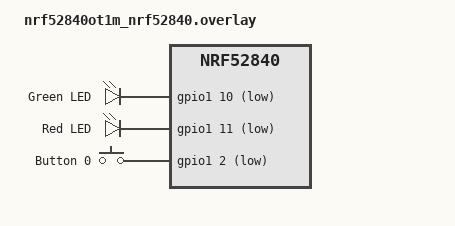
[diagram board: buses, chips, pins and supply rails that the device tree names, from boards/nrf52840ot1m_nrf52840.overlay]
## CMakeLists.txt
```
# SPDX-License-Identifier: Apache-2.0

cmake_minimum_required(VERSION 3.13.1)

set(BOARD ot1m_display_nrf52840)

find_package(Zephyr HINTS $ENV{ZEPHYR_BASE})

include_directories(${CMAKE_SOURCE_DIR}/build/zephyr/include/generated)

file(STRINGS
        ${CMAKE_SOURCE_DIR}/build/zephyr/include/generated/autoconf.h
        LIST_OF_CONFIGS
        REGEX "^#define CONFIG_"
        ENCODING "UTF-8"
        )
foreach (CONFIG ${LIST_OF_CONFIGS})
    string(REPLACE " " ";" CONFIG_ITEM_LIST ${CONFIG})
    list(GET CONFIG_ITEM_LIST 1 CONFIG_ITEM_NAME)
    list(GET CONFIG_ITEM_LIST 2 CONFIG_ITEM_VALUE)
#    message(${CONFIG_ITEM_NAME})
#    message(${CONFIG_ITEM_VALUE})
    add_definitions('-D${CONFIG_ITEM_NAME}=${CONFIG_ITEM_VALUE}')
    set(${CONFIG_ITEM_NAME} ${CONFIG_ITEM_VALUE})
endforeach()

include_directories(${ZEPHYR_BASE}/subsys/net/ip ../modules/lib/openthread/include)


project(lwm2m_client)
target_sources(app PRIVATE src/main.c src/epdpaint.c src/font8.c)

target_include_directories(app PRIVATE ${CMAKE_SOURCE_DIR}/src)
```

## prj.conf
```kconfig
# 通用配置
CONFIG_GPIO=y
CONFIG_NRFX_GPIOTE=n
CONFIG_CONSOLE=n
CONFIG_SHELL_BACKENDS=n
CONFIG_UART_CONSOLE=n
CONFIG_SERIAL=n

CONFIG_I2C=n
CONFIG_I2C_LOG_LEVEL_DBG=n
CONFIG_LWM2M_LOG_LEVEL_DBG=y
CONFIG_DISPLAY_LOG_LEVEL_DBG=y

CONFIG_APP_BUTTON=n
CONFIG_APP_LWM2M=y
CONFIG_APP_OPENTHREAD=y
CONFIG_APP_SETTINGS=y
# CONFIG_APP_SHT30D=y

CONFIG_LOG=y
CONFIG_BOOTLOADER_MCUBOOT=n
CONFIG_SYS_POWER_MANAGEMENT=y
CONFIG_DEVICE_POWER_MANAGEMENT=y

CONFIG_POLL=y
# CONFIG_REBOOT=y
CONFIG_LOG_BACKEND_UART=n
CONFIG_LOG_BACKEND_RTT=y
CONFIG_LOG_DEFAULT_LEVEL=3
CONFIG_SENSOR_LOG_LEVEL_DBG=y
CONFIG_RING_BUFFER=y

CONFIG_SETTINGS=y
CONFIG_NVS=y
CONFIG_SETTINGS_NVS=y
CONFIG_SYS_POWER_MANAGEMENT=y
CONFIG_DEVICE_POWER_MANAGEMENT=y

# Kernel options
CONFIG_MAIN_STACK_SIZE=2048
CONFIG_ENTROPY_GENERATOR=y
CONFIG_TEST_RANDOM_GENERATOR=y
CONFIG_INIT_STACKS=y

CONFIG_NEWLIB_LIBC=y
CONFIG_NEWLIB_LIBC_FLOAT_PRINTF=y

# Generic networking options
CONFIG_NETWORKING=y
CONFIG_NET_UDP=y
CONFIG_NET_TCP=n
CONFIG_NET_IPV6=y
CONFIG_NET_IPV4=n
CONFIG_NET_SOCKETS=y
CONFIG_NET_SOCKETS_POSIX_NAMES=y
CONFIG_NET_SOCKETS_POLL_MAX=4
CONFIG_NET_CONNECTION_MANAGER=y

# Kernel options
CONFIG_MAIN_STACK_SIZE=2048
CONFIG_ENTROPY_GENERATOR=y
CONFIG_TEST_RANDOM_GENERATOR=y
CONFIG_INIT_STACKS=y
CONFIG_HEAP_MEM_POOL_SIZE=65536

# Logging
CONFIG_NET_LOG=y
CONFIG_LOG_STRDUP_BUF_COUNT=10
CONFIG_NET_STATISTICS=y
CONFIG_PRINTK=y

# Network buffers
CONFIG_NET_PKT_RX_COUNT=16
CONFIG_NET_PKT_TX_COUNT=16
CONFIG_NET_BUF_RX_COUNT=80
CONFIG_NET_BUF_TX_COUNT=80
CONFIG_NET_CONTEXT_NET_PKT_POOL=y

# IP address options
CONFIG_NET_IF_UNICAST_IPV6_ADDR_COUNT=3
CONFIG_NET_IF_MCAST_IPV6_ADDR_COUNT=4
CONFIG_NET_MAX_CONTEXTS=10

# Network shell
CONFIG_NET_SHELL=n

# The addresses are selected so that qemu<->qemu connectivity works ok.
# For linux<->qemu connectivity, create a new conf file and swap the
# addresses (so that peer address is ending to 2).
CONFIG_NET_CONFIG_SETTINGS=y
CONFIG_NET_CONFIG_NEED_IPV6=y

CONFIG_NEWLIB_LIBC=y

CONFIG_NET_IPV6_NBR_CACHE=n
CONFIG_NET_IPV6_MLD=n
CONFIG_NET_CONFIG_NEED_IPV4=n

CONFIG_SYSTEM_WORKQUEUE_STACK_SIZE=2048
CONFIG_SHELL_STACK_SIZE=3072

CONFIG_NET_L2_OPENTHREAD=y

CONFIG_OPENTHREAD_DEBUG=y
CONFIG_OPENTHREAD_L2_DEBUG=y
CONFIG_OPENTHREAD_L2_LOG_LEVEL_INF=y
# CONFIG_OPENTHREAD_L2_LOG_LEVEL_DBG=y
CONFIG_OPENTHREAD_CHANNEL=26

# mbedTLS tweaks
CONFIG_MBEDTLS_SSL_MAX_CONTENT_LEN=768

# A sample configuration to enable Thread Joiner, uncomment if needed
CONFIG_OPENTHREAD_JOINER=y
#CONFIG_OPENTHREAD_JOINER_AUTOSTART=y

# Enable diagnostic module, uncomment if needed
#CONFIG_OPENTHREAD_DIAG=yAPP_MAX_COAP_MSG_LEN

CONFIG_OPENTHREAD_MANUAL_START=y
CONFIG_OPENTHREAD_SHELL=n
CONFIG_OPENTHREAD_SLAAC=y
CONFIG_OPENTHREAD_MTD=y

CONFIG_APP_OPENTHREAD_SLEEPY_POLL_PERIOD=100
CONFIG_APP_OPENTHREAD_JOINER_PSKD="J01NME"

CONFIG_LWM2M=y
CONFIG_LWM2M_COAP_BLOCK_SIZE=512
CONFIG_LWM2M_IPSO_SUPPORT=y
CONFIG_LWM2M_IPSO_TIMESTAMP_EXTENSIONS=y
CONFIG_LWM2M_IPSO_TEMP_SENSOR=y
CONFIG_LWM2M_IPSO_HUMIDITY_SENSOR=y
CONFIG_LWM2M_IPSO_PRESSURE_SENSOR=y
CONFIG_LWM2M_IPSO_LIGHT_CONTROL=y
CONFIG_LWM2M_IPSO_GENERIC_SENSOR=y
CONFIG_LWM2M_IPSO_GENERIC_SENSOR_TYPE="Generic_Sensor"
CONFIG_LWM2M_IPSO_GENERIC_SENSOR_INSTANCE_COUNT=4
CONFIG_LWM2M_IPSO_TIMER=y
CONFIG_LWM2M_IPSO_ONOFF_SWITCH=y
CONFIG_LWM2M_IPSO_PUSH_BUTTON=y
CONFIG_LWM2M_IPSO_ACCELEROMETER=n
CONFIG_LWM2M_IPSO_BUZZER=n
# 超时时间
CONFIG_LWM2M_ENGINE_DEFAULT_LIFETIME=50
# 超时前提前多少update，防止网络慢的原因导致超时
CONFIG_LWM2M_SECONDS_TO_UPDATE_EARLY=20

############# DTLS
CONFIG_LWM2M_DTLS_SUPPORT=y
CONFIG_LWM2M_PEER_PORT=5684

# Select Zephyr mbedtls
CONFIG_MBEDTLS=y

# Special MbedTLS changes
CONFIG_MBEDTLS_ENABLE_HEAP=y
# 需要足够大才能同时运行openthread join与lwm2m
CONFIG_MBEDTLS_HEAP_SIZE=65536
CONFIG_MBEDTLS_SSL_MAX_CONTENT_LEN=1500
CONFIG_MBEDTLS_CIPHER_CCM_ENABLED=y

# Disable RSA, we don't parse certs: saves flash/memory
# 如果开启了需要调整配置
CONFIG_MBEDTLS_KEY_EXCHANGE_RSA_ENABLED=n
# Enable PSK instead
CONFIG_MBEDTLS_KEY_EXCHANGE_PSK_ENABLED=y

CONFIG_NET_SOCKETS_SOCKOPT_TLS=y
CONFIG_NET_SOCKETS_TLS_MAX_CONTEXTS=4
CONFIG_NET_SOCKETS_ENABLE_DTLS=y



CONFIG_SPI=y
CONFIG_SPI_ASYNC=y

CONFIG_DISPLAY=y
CONFIG_WAVESHARE_4IN2=y

CONFIG_CHARACTER_FRAMEBUFFER=y


CONFIG_I2C=y
CONFIG_SENSOR=y
CONFIG_SHT3XD=y
CONFIG_CBPRINTF_FP_SUPPORT=y

CONFIG_LIS2DH=y

CONFIG_FLASH=y
CONFIG_NORDIC_QSPI_NOR=y
CONFIG_FLASH_LOG_LEVEL_DBG=y
```

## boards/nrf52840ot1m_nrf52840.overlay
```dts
/ {
    leds {
		compatible = "gpio-leds";
		led0: led_0 {
			gpios = <&gpio1 10 GPIO_ACTIVE_LOW>;
			label = "Green LED";
		};
		led1: led_1 {
            gpios = <&gpio1 11 GPIO_ACTIVE_LOW>;
            label = "Red LED";
        };
	};
	buttons {
        compatible = "gpio-keys";
        button0: button_0 {
            gpios = <&gpio1 2 (GPIO_PULL_UP | GPIO_ACTIVE_LOW)>;
            label = "Button 0";
        };
    };
    aliases {
        btnapp = &button0;
    };
};

&uart0 {
    status = "disabled";
};


&gpio0 {
	status = "okay";
};

&gpio1 {
	status = "okay";
};
```

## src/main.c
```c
/*
 * main 线程，进行公共的初始化操作，然后启动其他线程
 */

#include <zephyr.h>
#include <logging/log.h>
LOG_MODULE_REGISTER(main, LOG_LEVEL_INF);
#include <device.h>
#include <drivers/sensor.h>
#include <stdio.h>
#include <devicetree.h>
#include <drivers/gpio.h>
#include <power/power.h>
#include <math.h>
#include <app_openthread.h>
#include <app_lwm2m.h>
#include <net/lwm2m.h>
//#include <sht30d.h>
//#include <nrfx_gpiote.h>
//#include <button.h>

#include <net/openthread.h>
#include <openthread/link.h>
#include <openthread/thread.h>
#include <drivers/flash.h>
#include <drivers/display.h>
#include "epdpaint.h"

#define LIGHT_NAME		"Test light"

static uint32_t led_state=0;
static bool btn_state=false;
#define LED0	DT_GPIO_PIN(DT_NODELABEL(led0), gpios)
//
//static void *temperature_get_buf(uint16_t obj_inst_id, uint16_t res_id,
//                                 uint16_t res_inst_id, size_t *data_len)
//{
//    static struct float32_value temp, hum;
//
//    if(0 != app_sht30d_fetch_sensor((struct sensor_value *)&temp, (struct sensor_value *)&hum)){
//        LOG_ERR("fetch sensor error");
//    }
//    /* echo the value back through the engine to update min/max values */
//    lwm2m_engine_set_float32("3303/0/5700", &temp);
//    *data_len = sizeof(temp);
//    return &temp;
//}

void on_btn_single_click(void) {
    LOG_INF("CLICK");
    btn_state = !btn_state;
    lwm2m_engine_set_bool("3342/0/5500", btn_state);
}

void on_btn_long_press(void) {
    app_ot_start_join();
}
//
//static void led_init(void) {
//    int ret;
//    nrfx_gpiote_out_config_t const out_config = {
//            .action = NRF_GPIOTE_POLARITY_TOGGLE,
//            .init_state = 1,
//            .task_pin = true,
//    };
//
//    /* Initialize output pin. SET task will turn the LED on,
//     * CLR will turn it off and OUT will toggle it.
//     */
//    ret = nrfx_gpiote_out_init(LED0+32, &out_config);
//    if (ret != NRFX_SUCCESS) {
//        LOG_ERR("nrfx_gpiote_out_init error: %08x", ret);
//        return;
//    }
////    nrfx_gpiote_out_task_enable(LED0);
//}
//
///* TODO: Move to a pre write hook that can handle ret codes once available */
//static int led_on_off_cb(uint16_t obj_inst_id, uint16_t res_id, uint16_t res_inst_id,
//                         uint8_t *data, uint16_t data_len,
//                         bool last_block, size_t total_size)
//{
//    int ret = 0;
//    uint32_t led_val;
//
//    led_val = *(uint8_t *) data;
//    if (led_val != led_state) {
//        nrfx_gpiote_out_toggle(LED0+32);
//        led_state = led_val;
//        /* TODO: Move to be set by an internal post write function */
//        lwm2m_engine_set_s32("3311/0/5852", 0);
//    }
//
//    return ret;
//}

#define FLASH_DEVICE DT_LABEL(DT_INST(0, nordic_qspi_nor))
#define FLASH_NAME "JEDEC QSPI-NOR"
#define FLASH_TEST_REGION_OFFSET 0xff000
#define FLASH_SECTOR_SIZE        4096
Paint paint;
#define COLORED      1
#define UNCOLORED    0


void main(void) {
    LOG_INF("OT1M Starting...");
    int ret;
//    const struct device *flash_dev;
//    flash_dev = device_get_binding(FLASH_DEVICE);
//
//    if (!flash_dev) {
//        LOG_WRN("SPI flash driver %s was not found!\n",
//               FLASH_DEVICE);
//        return;
//    }
//    LOG_INF("\nTest 1: Flash erase\n");
//    flash_write_protection_set(flash_dev, false);
//
//    ret = flash_erase(flash_dev, FLASH_TEST_REGION_OFFSET,
//                     FLASH_SECTOR_SIZE);
//    if (ret != 0) {
//        LOG_WRN("Flash erase failed! %d\n", ret);
//    } else {
//        LOG_INF("Flash erase succeeded!\n");
//    }

    const struct device *display_dev = device_get_binding("WaveShare_4IN2");

    if (display_dev == NULL) {
        LOG_ERR("device not found.  Aborting test.");
        return;
    }
    ret = display_blanking_on(display_dev);
    if ( ret != 0) {
        LOG_ERR("blanking error %d.", ret);
        return;
    }
    Paint_Init(&paint, display_get_framebuffer(display_dev),400,300);
    Paint_Clear(&paint, UNCOLORED);
    Paint_DrawStringAt(&paint, 5, 5, "HELLO", &Font8, COLORED);
    Paint_DrawStringAt(&paint, 5, 15, "World", &Font8, COLORED);
    ret = display_blanking_off(display_dev);
    if ( ret != 0) {
        LOG_ERR("blanking error %d.", ret);
        return;
    }

    const struct device *dev = device_get_binding("LIS3DH");
    int rc;

    if (dev == NULL) {
        LOG_WRN("Could not get LIS3DH device\n");
        return;
    }

    while (true) {
        struct sensor_value x, y, z;

        rc = sensor_sample_fetch(dev);
        if (rc == 0) {
            rc = sensor_channel_get(dev, SENSOR_CHAN_ACCEL_X,
                                    &x);
        }
        if (rc == 0) {
            rc = sensor_channel_get(dev, SENSOR_CHAN_ACCEL_Y,
                                    &y);
        }
        if (rc == 0) {
            rc = sensor_channel_get(dev, SENSOR_CHAN_ACCEL_Z,
                                    &z);
        }
        if (rc != 0) {
            LOG_INF("SHT3XD: failed: %d\n", rc);
            break;
        }
        LOG_INF("x: %d, %d, y: %d, %d, z: %d, %d", x.val1, x.val2, y.val1, y.val2, z.val1, z.val2);

        k_sleep(K_MSEC(2000));
    }
//
//    const struct device *dev = device_get_binding("SHT3XD");
//    int rc;
//
//    if (dev == NULL) {
//        LOG_WRN("Could not get SHT3XD device\n");
//        return;
//    }
//
//    while (true) {
//        struct sensor_value temp, hum;
//
//        rc = sensor_sample_fetch(dev);
//        if (rc == 0) {
//            rc = sensor_channel_get(dev, SENSOR_CHAN_AMBIENT_TEMP,
//                                    &temp);
//        }
//        if (rc == 0) {
//            rc = sensor_channel_get(dev, SENSOR_CHAN_HUMIDITY,
//                                    &hum);
//        }
//        if (rc != 0) {
//            LOG_INF("SHT3XD: failed: %d\n", rc);
//            break;
//        }
//        LOG_INF("%d, %d", temp.val1, temp.val2);
//        LOG_INF("%d, %d", hum.val1, hum.val2);
//
//        k_sleep(K_MSEC(2000));
//    }


    /* Connect GPIOTE_0 IRQ to nrfx_gpiote_irq_handler */
//    IRQ_CONNECT(DT_IRQN(DT_NODELABEL(gpiote)),
//                DT_IRQ(DT_NODELABEL(gpiote), priority),
//                nrfx_isr, nrfx_gpiote_irq_handler, 0);
//    (void)nrfx_gpiote_init(NRFX_GPIOTE_DEFAULT_CONFIG_IRQ_PRIORITY);
//    app_button_init(on_btn_single_click, NULL, on_btn_long_press, NULL);
//    app_sht30d_init();
//    led_init();
    k_msleep(100);
    otInstance * instance = openthread_get_default_instance();
    otError  error        = OT_ERROR_NONE;
    __ASSERT(instance, "OT instance is NULL");
    const otNetifAddress *unicastAddrs = otIp6GetUnicastAddresses(instance);
    char buf[40];
    for (const otNetifAddress *addr = unicastAddrs; addr; addr = addr->mNext)
    {
        net_addr_ntop(AF_INET6, &addr->mAddress, buf, 40);
        LOG_INF("+IPADDR:%s", log_strdup(buf));
    }
    int pos = 0;
    otExtAddress extAddress;
    otLinkGetFactoryAssignedIeeeEui64(instance, &extAddress);
    for(int i=0; i<OT_EXT_ADDRESS_SIZE; i++){
        pos += sprintf(&buf[pos], "%02x", extAddress.m8[i]);
    }
    buf[pos] = '\0';
    LOG_INF("PSK:%s", log_strdup(buf));
    app_lwm2m_settings lwm2m_settings = {
            .psk_id = {0x00},
            .psk_key = {
                    0x00, 0x01, 0x02, 0x03, 0x04, 0x05, 0x06, 0x07,
                    0x08, 0x09, 0x0a, 0x0b, 0x0c, 0x0d, 0x0e, 0x0f
            },
            .psk_key_length = 16,
            .enable_psk = 1U,
            .server_addr = "fd40:2d04:3c20::73a",
            .server_is_bootstrap = false,
    };
    memcpy(lwm2m_settings.psk_id, buf, pos);
//    (void)lwm2m_engine_create_obj_inst("3303/0");
//    (void)lwm2m_engine_register_read_callback("3303/0/5700", temperature_get_buf);
    ret = lwm2m_engine_create_obj_inst("3342/0");
    if(ret < 0){
        LOG_ERR("create ojb 3342/0 err (%d)", ret);
    }
    ret = lwm2m_engine_create_obj_inst("3311/0");
    if(ret < 0){
        LOG_ERR("create ojb 3311/0 err (%d)", ret);
    }
//    ret = lwm2m_engine_register_post_write_callback("3311/0/5850",
//                                              led_on_off_cb);
//    if(ret < 0){
//        LOG_ERR("create resource 3311/0/5850 err (%d)", ret);
//    }
    lwm2m_engine_set_res_data("3311/0/5750",
                              LIGHT_NAME, sizeof(LIGHT_NAME),
                              LWM2M_RES_DATA_FLAG_RO);

    for(int i=0; i<30; i++){
        if (app_ot_is_connected()){
            break;
        }
        (void)k_msleep(1000);
    }
    ret = app_lwm2m_client_start(&lwm2m_settings);
    if (ret < 0) {
        LOG_ERR("Cannot setup LWM2M fields (%d)", ret);
    }
    while(1){
        k_msleep(3600000);
    }
    LOG_ERR("NEVER RUN!");
}
```

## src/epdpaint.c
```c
/**
 *  @filename   :   epdpaint.c
 *  @brief      :   Paint tools
 *  @author     :   Yehui from Waveshare
 *
 *  Copyright (C) Waveshare     July 28 2017
 *
 * Permission is hereby granted, free of charge, to any person obtaining a copy
 * of this software and associated documnetation files (the "Software"), to deal
 * in the Software without restriction, including without limitation the rights
 * to use, copy, modify, merge, publish, distribute, sublicense, and/or sell
 * copies of the Software, and to permit persons to  whom the Software is
 * furished to do so, subject to the following conditions:
 *
 * The above copyright notice and this permission notice shall be included in
 * all copies or substantial portions of the Software.
 *
 * THE SOFTWARE IS PROVIDED "AS IS", WITHOUT WARRANTY OF ANY KIND, EXPRESS OR
 * IMPLIED, INCLUDING BUT NOT LIMITED TO THE WARRANTIES OF MERCHANTABILITY,
 * FITNESS OR A PARTICULAR PURPOSE AND NONINFRINGEMENT. IN NO EVENT SHALL THE
 * AUTHORS OR COPYRIGHT HOLDERS BE LIABLE FOR ANY CLAIM, DAMAGES OR OTHER
 * LIABILITY WHETHER IN AN ACTION OF CONTRACT, TORT OR OTHERWISE, ARISING FROM,
 * OUT OF OR IN CONNECTION WITH THE SOFTWARE OR THE USE OR OTHER DEALINGS IN
 * THE SOFTWARE.
 */

#include "epdpaint.h"


void Paint_Init(Paint* paint, unsigned char* image, int width, int height) {
    paint->rotate = ROTATE_0;
    paint->image = image;
    /* 1 byte = 8 pixels, so the width should be the multiple of 8 */
    paint->width = width % 8 ? width + 8 - (width % 8) : width;
    paint->height = height;
}

/**
 *  @brief: clear the image
 */
void Paint_Clear(Paint* paint, int colored) {
    int x = 0, y=0;
    for (x = 0; x < paint->width; x++) {
        for (y = 0; y < paint->height; y++) {
            Paint_DrawAbsolutePixel(paint, x, y, colored);
        }
    }
}

/**
 *  @brief: this draws a pixel by absolute coordinates.
 *          this function won't be affected by the rotate parameter.
 */
void Paint_DrawAbsolutePixel(Paint* paint, int x, int y, int colored) {
    if (x < 0 || x >= paint->width || y < 0 || y >= paint->height) {
        return;
    }
    if (IF_INVERT_COLOR) {
        if (colored) {
            paint->image[(x + y * paint->width) / 8] |= 0x80 >> (x % 8);
        } else {
            paint->image[(x + y * paint->width) / 8] &= ~(0x80 >> (x % 8));
        }
    } else {
        if (colored) {
            paint->image[(x + y * paint->width) / 8] &= ~(0x80 >> (x % 8));
        } else {
            paint->image[(x + y * paint->width) / 8] |= 0x80 >> (x % 8);
        }
    }
}

/**
 *  @brief: Getters and Setters
 */
unsigned char* Paint_GetImage(Paint* paint) {
    return paint->image;
}

int Paint_GetWidth(Paint* paint) {
    return paint->width;
}

void Paint_SetWidth(Paint* paint, int width) {
    paint->width = width % 8 ? width + 8 - (width % 8) : width;
}

int Paint_GetHeight(Paint* paint) {
    return paint->height;
}

void Paint_SetHeight(Paint* paint, int height) {
    paint->height = height;
}

int Paint_GetRotate(Paint* paint) {
    return paint->rotate;
}

void Paint_SetRotate(Paint* paint, int rotate){
    paint->rotate = rotate;
}

/**
 *  @brief: this draws a pixel by the coordinates
 */
void Paint_DrawPixel(Paint* paint, int x, int y, int colored) {
    int point_temp;
    if (paint->rotate == ROTATE_0) {
        if(x < 0 || x >= paint->width || y < 0 || y >= paint->height) {
            return;
        }
        Paint_DrawAbsolutePixel(paint, x, y, colored);
    } else if (paint->rotate == ROTATE_90) {
        if(x < 0 || x >= paint->height || y < 0 || y >= paint->width) {
            return;
        }
        point_temp = x;
        x = paint->width - y;
        y = point_temp;
        Paint_DrawAbsolutePixel(paint, x, y, colored);
    } else if (paint->rotate == ROTATE_180) {
        if(x < 0 || x >= paint->width || y < 0 || y >= paint->height) {
            return;
        }
        x = paint->width - x;
        y = paint->height - y;
        Paint_DrawAbsolutePixel(paint, x, y, colored);
    } else if (paint->rotate == ROTATE_270) {
        if(x < 0 || x >= paint->height || y < 0 || y >= paint->width) {
            return;
        }
        point_temp = x;
        x = y;
        y = paint->height - point_temp;
        Paint_DrawAbsolutePixel(paint, x, y, colored);
    }
}

/**
 *  @brief: this draws a charactor on the frame buffer but not refresh
 */
void Paint_DrawCharAt(Paint* paint, int x, int y, char ascii_char, sFONT* font, int colored) {
    int i, j;
    unsigned int char_offset = (ascii_char - ' ') * font->Height * (font->Width / 8 + (font->Width % 8 ? 1 : 0));
    const unsigned char* ptr = &font->table[char_offset];

    for (j = 0; j < font->Height; j++) {
        for (i = 0; i < font->Width; i++) {
            if (*ptr & (0x80 >> (i % 8))) {
                Paint_DrawPixel(paint, x + i, y + j, colored);
            }
            if (i % 8 == 7) {
                ptr++;
            }
        }
        if (font->Width % 8 != 0) {
            ptr++;
        }
    }
}

/**
*  @brief: this displays a string on the frame buffer but not refresh
*/
void Paint_DrawStringAt(Paint* paint, int x, int y, const char* text, sFONT* font, int colored) {
    const char* p_text = text;
    unsigned int counter = 0;
    int refcolumn = x;

    /* Send the string character by character on EPD */
    while (*p_text != 0) {
        /* Display one character on EPD */
        Paint_DrawCharAt(paint, refcolumn, y, *p_text, font, colored);
        /* Decrement the column position by 16 */
        refcolumn += font->Width;
        /* Point on the next character */
        p_text++;
        counter++;
    }
}

/**
*  @brief: this draws a line on the frame buffer
*/
void Paint_DrawLine(Paint* paint, int x0, int y0, int x1, int y1, int colored) {
    /* Bresenham algorithm */
    int dx = x1 - x0 >= 0 ? x1 - x0 : x0 - x1;
    int sx = x0 < x1 ? 1 : -1;
    int dy = y1 - y0 <= 0 ? y1 - y0 : y0 - y1;
    int sy = y0 < y1 ? 1 : -1;
    int err = dx + dy;

    while((x0 != x1) && (y0 != y1)) {
        Paint_DrawPixel(paint, x0, y0 , colored);
        if (2 * err >= dy) {
            err += dy;
            x0 += sx;
        }
        if (2 * err <= dx) {
            err += dx;
            y0 += sy;
        }
    }
}

/**
*  @brief: this draws a horizontal line on the frame buffer
*/
void Paint_DrawHorizontalLine(Paint* paint, int x, int y, int line_width, int colored) {
    int i;
    for (i = x; i < x + line_width; i++) {
        Paint_DrawPixel(paint, i, y, colored);
    }
}

/**
*  @brief: this draws a vertical line on the frame buffer
*/
void Paint_DrawVerticalLine(Paint* paint, int x, int y, int line_height, int colored) {
    int i;
    for (i = y; i < y + line_height; i++) {
        Paint_DrawPixel(paint, x, i, colored);
    }
}

/**
*  @brief: this draws a rectangle
*/
void Paint_DrawRectangle(Paint* paint, int x0, int y0, int x1, int y1, int colored) {
    int min_x, min_y, max_x, max_y;
    min_x = x1 > x0 ? x0 : x1;
    max_x = x1 > x0 ? x1 : x0;
    min_y = y1 > y0 ? y0 : y1;
    max_y = y1 > y0 ? y1 : y0;

    Paint_DrawHorizontalLine(paint, min_x, min_y, max_x - min_x + 1, colored);
    Paint_DrawHorizontalLine(paint, min_x, max_y, max_x - min_x + 1, colored);
    Paint_DrawVerticalLine(paint, min_x, min_y, max_y - min_y + 1, colored);
    Paint_DrawVerticalLine(paint, max_x, min_y, max_y - min_y + 1, colored);
}

/**
*  @brief: this draws a filled rectangle
*/
void Paint_DrawFilledRectangle(Paint* paint, int x0, int y0, int x1, int y1, int colored) {
    int min_x, min_y, max_x, max_y;
    int i;
    min_x = x1 > x0 ? x0 : x1;
    max_x = x1 > x0 ? x1 : x0;
    min_y = y1 > y0 ? y0 : y1;
    max_y = y1 > y0 ? y1 : y0;

    for (i = min_x; i <= max_x; i++) {
        Paint_DrawVerticalLine(paint, i, min_y, max_y - min_y + 1, colored);
    }
}

/**
*  @brief: this draws a circle
*/
void Paint_DrawCircle(Paint* paint, int x, int y, int radius, int colored) {
    /* Bresenham algorithm */
    int x_pos = -radius;
    int y_pos = 0;
    int err = 2 - 2 * radius;
    int e2;

    do {
        Paint_DrawPixel(paint, x - x_pos, y + y_pos, colored);
        Paint_DrawPixel(paint, x + x_pos, y + y_pos, colored);
        Paint_DrawPixel(paint, x + x_pos, y - y_pos, colored);
        Paint_DrawPixel(paint, x - x_pos, y - y_pos, colored);
        e2 = err;
        if (e2 <= y_pos) {
            err += ++y_pos * 2 + 1;
            if(-x_pos == y_pos && e2 <= x_pos) {
                e2 = 0;
            }
        }
        if (e2 > x_pos) {
            err += ++x_pos * 2 + 1;
        }
    } while (x_pos <= 0);
}

/**
*  @brief: this draws a filled circle
*/
void Paint_DrawFilledCircle(Paint* paint, int x, int y, int radius, int colored) {
    /* Bresenham algorithm */
    int x_pos = -radius;
    int y_pos = 0;
    int err = 2 - 2 * radius;
    int e2;

    do {
        Paint_DrawPixel(paint, x - x_pos, y + y_pos, colored);
        Paint_DrawPixel(paint, x + x_pos, y + y_pos, colored);
        Paint_DrawPixel(paint, x + x_pos, y - y_pos, colored);
        Paint_DrawPixel(paint, x - x_pos, y - y_pos, colored);
        Paint_DrawHorizontalLine(paint, x + x_pos, y + y_pos, 2 * (-x_pos) + 1, colored);
        Paint_DrawHorizontalLine(paint, x + x_pos, y - y_pos, 2 * (-x_pos) + 1, colored);
        e2 = err;
        if (e2 <= y_pos) {
            err += ++y_pos * 2 + 1;
            if(-x_pos == y_pos && e2 <= x_pos) {
                e2 = 0;
            }
        }
        if(e2 > x_pos) {
            err += ++x_pos * 2 + 1;
        }
    } while(x_pos <= 0);
}

/* END OF FILE */
```

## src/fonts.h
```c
/**
  ******************************************************************************
  * @file    fonts.h
  * @author  MCD Application Team
  * @version V1.0.0
  * @date    18-February-2014
  * @brief   Header for fonts.c file
  ******************************************************************************
  * @attention
  *
  * <h2><center>&copy; COPYRIGHT(c) 2014 STMicroelectronics</center></h2>
  *
  * Redistribution and use in source and binary forms, with or without modification,
  * are permitted provided that the following conditions are met:
  *   1. Redistributions of source code must retain the above copyright notice,
  *      this list of conditions and the following disclaimer.
  *   2. Redistributions in binary form must reproduce the above copyright notice,
  *      this list of conditions and the following disclaimer in the documentation
  *      and/or other materials provided with the distribution.
  *   3. Neither the name of STMicroelectronics nor the names of its contributors
  *      may be used to endorse or promote products derived from this software
  *      without specific prior written permission.
  *
  * THIS SOFTWARE IS PROVIDED BY THE COPYRIGHT HOLDERS AND CONTRIBUTORS "AS IS"
  * AND ANY EXPRESS OR IMPLIED WARRANTIES, INCLUDING, BUT NOT LIMITED TO, THE
  * IMPLIED WARRANTIES OF MERCHANTABILITY AND FITNESS FOR A PARTICULAR PURPOSE ARE
  * DISCLAIMED. IN NO EVENT SHALL THE COPYRIGHT HOLDER OR CONTRIBUTORS BE LIABLE
  * FOR ANY DIRECT, INDIRECT, INCIDENTAL, SPECIAL, EXEMPLARY, OR CONSEQUENTIAL
  * DAMAGES (INCLUDING, BUT NOT LIMITED TO, PROCUREMENT OF SUBSTITUTE GOODS OR
  * SERVICES; LOSS OF USE, DATA, OR PROFITS; OR BUSINESS INTERRUPTION) HOWEVER
  * CAUSED AND ON ANY THEORY OF LIABILITY, WHETHER IN CONTRACT, STRICT LIABILITY,
  * OR TORT (INCLUDING NEGLIGENCE OR OTHERWISE) ARISING IN ANY WAY OUT OF THE USE
  * OF THIS SOFTWARE, EVEN IF ADVISED OF THE POSSIBILITY OF SUCH DAMAGE.
  *
  ******************************************************************************
  */

/* Define to prevent recursive inclusion -------------------------------------*/
#ifndef __FONTS_H
#define __FONTS_H

/* Max size of bitmap will based on a font24 (17x24) */
#define MAX_HEIGHT_FONT         24
#define MAX_WIDTH_FONT          17
#define OFFSET_BITMAP           54

#ifdef __cplusplus
extern "C" {
#endif

/* Includes ------------------------------------------------------------------*/
#include <stdint.h>

typedef struct _tFont
{
    const uint8_t *table;
    uint16_t Width;
    uint16_t Height;

} sFONT;

extern sFONT Font8;
//extern sFONT Font24;
//extern sFONT Font24Custom;
//extern sFONT Font3248Custom;

#ifdef __cplusplus
}
#endif

#endif /* __FONTS_H */


/************************ (C) COPYRIGHT STMicroelectronics *****END OF FILE****/
```
